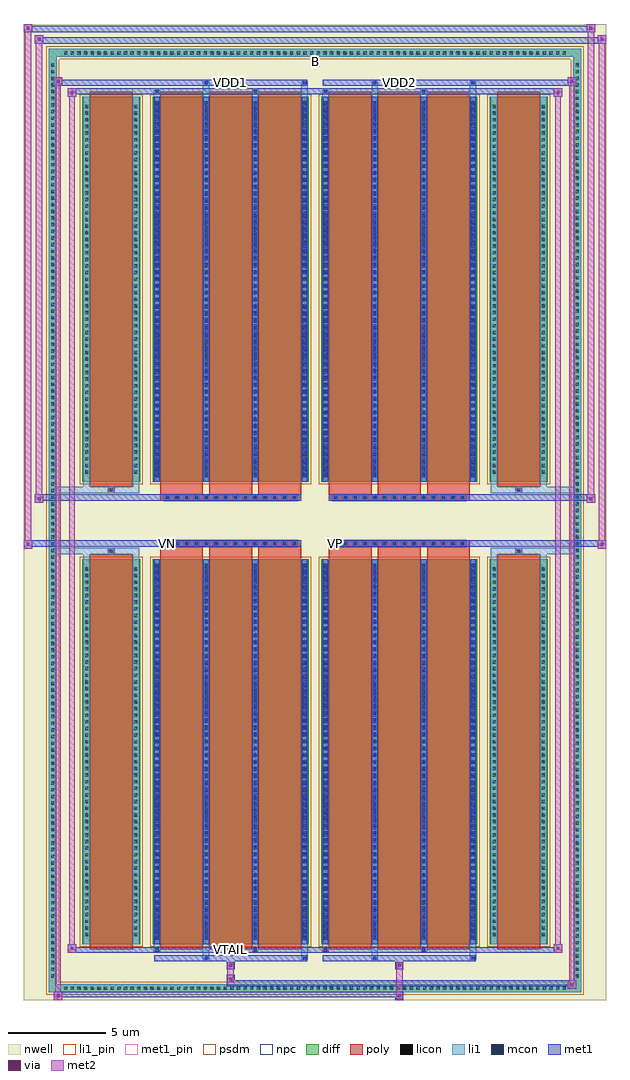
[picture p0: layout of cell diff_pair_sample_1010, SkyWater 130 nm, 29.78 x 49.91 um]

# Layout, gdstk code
import gdstk
lib = gdstk.Library(unit=1e-6, precision=5e-09)
def R(c, l, rs):  # rectangles x0, y0, x1, y1
    for r in rs: c.add(gdstk.rectangle(r[:2], r[2:], *l))
def A(c, l, x, y, w, h, nx, ny, dx, dy):  # array of equal rectangles
    R(c, l, [(x+i*dx, y+j*dy, x+i*dx+w, y+j*dy+h) for i in range(nx) for j in range(ny)])
def P(c, l, *ps):  # polygons
    for p in ps: c.add(gdstk.Polygon(p, *l))
nwell = (64, 20)
diff = (65, 20)
poly = (66, 20)
licon = (66, 44)
li1_pin = (67, 16)
li1 = (67, 20)
mcon = (67, 44)
met1_pin = (68, 16)
met1 = (68, 20)
via = (68, 44)
met2 = (69, 20)
psdm = (94, 20)
npc = (95, 20)

diff_pair_sample_1010 = lib.new_cell('diff_pair_sample_1010')
R(diff_pair_sample_1010, nwell, [(-14.89,-24.52,14.89,25.39), (-12.21,-22.71,-0.01,-0.805), (0.01,-22.71,12.21,-0.805), (-12.21,0.805,-0.01,22.71), (0.01,0.805,12.21,22.71)])
A(diff_pair_sample_1010, diff, -12.955, -24.12, 0.41, 0.41, 76, 2, 0.34, 47.83)
A(diff_pair_sample_1010, diff, -13.62, -23.495, 0.41, 0.41, 1, 138, 0, 0.34)
A(diff_pair_sample_1010, diff, 13.21, -23.495, 0.41, 0.41, 1, 138, 0, 0.34)
R(diff_pair_sample_1010, diff, [(-12.955,-24.12,12.955,-23.71), (-13.62,-23.495,-13.21,23.495), (13.21,-23.495,13.62,23.495), (-11.9,-21.665,-8.94,-1.985), (-8.3,-21.665,-0.32,-1.985), (0.32,-21.665,8.3,-1.985), (8.94,-21.665,11.9,-1.985), (-11.9,1.985,-8.94,21.665), (-8.3,1.985,-0.32,21.665), (0.32,1.985,8.3,21.665), (8.94,1.985,11.9,21.665), (-12.955,23.71,12.955,24.12)])
P(diff_pair_sample_1010, diff, [(13.62,24.12),(-13.62,24.12),(-13.62,-23.71),(-13.21,-23.71),(-13.21,23.71),(13.21,23.71),(13.21,-23.71),(-13.21,-23.71),(-13.62,-23.71),(-13.62,-24.12),(13.62,-24.12)])
A(diff_pair_sample_1010, poly, -7.91, -21.915, 2.18, 20.18, 3, 2, 2.51, 23.65)
A(diff_pair_sample_1010, poly, 0.71, -21.915, 2.18, 20.18, 3, 2, 2.51, 23.65)
A(diff_pair_sample_1010, poly, -7.91, -1.735, 2.18, 0.4, 3, 2, 2.51, 3.07)
A(diff_pair_sample_1010, poly, 0.71, -1.735, 2.18, 0.4, 3, 2, 2.51, 3.07)
A(diff_pair_sample_1010, poly, -7.725, -1.335, 0.33, 0.33, 14, 2, 0.5, 2.34)
A(diff_pair_sample_1010, poly, 0.895, -1.335, 0.33, 0.33, 14, 2, 0.5, 2.34)
R(diff_pair_sample_1010, poly, [(-11.51,-21.915,-9.33,-1.735), (9.33,-21.915,11.51,-1.735), (-10.585,-1.735,-10.255,-1.405), (-10.585,-1.735,-10.255,-1.405), (10.255,-1.735,10.585,-1.405), (10.255,-1.735,10.585,-1.405), (-7.91,-1.335,-0.71,-1.005), (0.71,-1.335,7.91,-1.005), (-7.91,1.005,-0.71,1.335), (0.71,1.005,7.91,1.335), (-10.585,1.405,-10.255,1.735), (-10.585,1.405,-10.255,1.735), (10.255,1.405,10.585,1.735), (10.255,1.405,10.585,1.735), (-11.51,1.735,-9.33,21.915), (9.33,1.735,11.51,21.915)])
A(diff_pair_sample_1010, licon, -12.835, -24, 0.17, 0.17, 76, 2, 0.34, 47.83)
A(diff_pair_sample_1010, licon, -13.5, -23.375, 0.17, 0.17, 1, 138, 0, 0.34)
A(diff_pair_sample_1010, licon, 13.33, -23.375, 0.17, 0.17, 1, 138, 0, 0.34)
A(diff_pair_sample_1010, licon, -11.76, -21.26, 0.17, 0.17, 1, 56, 0, 0.34)
A(diff_pair_sample_1010, licon, -9.25, -21.26, 0.17, 0.17, 1, 56, 0, 0.34)
A(diff_pair_sample_1010, licon, -8.16, -21.26, 0.17, 0.17, 4, 56, 2.51, 0.34)
A(diff_pair_sample_1010, licon, 0.46, -21.26, 0.17, 0.17, 4, 56, 2.51, 0.34)
A(diff_pair_sample_1010, licon, 9.08, -21.26, 0.17, 0.17, 1, 56, 0, 0.34)
A(diff_pair_sample_1010, licon, 11.59, -21.26, 0.17, 0.17, 1, 56, 0, 0.34)
A(diff_pair_sample_1010, licon, -7.645, -1.255, 0.17, 0.17, 14, 2, 0.5, 2.34)
A(diff_pair_sample_1010, licon, 0.975, -1.255, 0.17, 0.17, 14, 2, 0.5, 2.34)
A(diff_pair_sample_1010, licon, -11.76, 2.39, 0.17, 0.17, 1, 56, 0, 0.34)
A(diff_pair_sample_1010, licon, -9.25, 2.39, 0.17, 0.17, 1, 56, 0, 0.34)
A(diff_pair_sample_1010, licon, -8.16, 2.39, 0.17, 0.17, 4, 56, 2.51, 0.34)
A(diff_pair_sample_1010, licon, 0.46, 2.39, 0.17, 0.17, 4, 56, 2.51, 0.34)
A(diff_pair_sample_1010, licon, 9.08, 2.39, 0.17, 0.17, 1, 56, 0, 0.34)
A(diff_pair_sample_1010, licon, 11.59, 2.39, 0.17, 0.17, 1, 56, 0, 0.34)
R(diff_pair_sample_1010, licon, [(-10.505,-1.655,-10.335,-1.485), (10.335,-1.655,10.505,-1.485), (-10.505,1.485,-10.335,1.655), (10.335,1.485,10.505,1.655)])
R(diff_pair_sample_1010, li1_pin, [(-0.25,23.21,0.25,23.71)])
A(diff_pair_sample_1010, li1, -12.915, -24.08, 0.33, 0.33, 76, 2, 0.34, 47.83)
A(diff_pair_sample_1010, li1, -13.58, -23.455, 0.33, 0.33, 1, 138, 0, 0.34)
A(diff_pair_sample_1010, li1, 13.25, -23.455, 0.33, 0.33, 1, 138, 0, 0.34)
A(diff_pair_sample_1010, li1, -8.24, -21.665, 0.33, 19.68, 4, 2, 2.51, 23.65)
A(diff_pair_sample_1010, li1, 0.38, -21.665, 0.33, 19.68, 4, 2, 2.51, 23.65)
A(diff_pair_sample_1010, li1, -8.16, -21.45, 0.17, 0.17, 4, 54, 2.51, 0.36)
A(diff_pair_sample_1010, li1, -8.16, -21.45, 0.17, 19.25, 4, 2, 2.51, 23.65)
A(diff_pair_sample_1010, li1, 0.46, -21.45, 0.17, 0.17, 4, 54, 2.51, 0.36)
A(diff_pair_sample_1010, li1, 0.46, -21.45, 0.17, 19.25, 4, 2, 2.51, 23.65)
A(diff_pair_sample_1010, li1, -11.84, -21.34, 0.33, 0.33, 1, 56, 0, 0.34)
A(diff_pair_sample_1010, li1, -9.33, -21.34, 0.33, 0.33, 1, 56, 0, 0.34)
A(diff_pair_sample_1010, li1, -8.24, -21.34, 0.33, 0.33, 4, 56, 2.51, 0.34)
A(diff_pair_sample_1010, li1, 0.38, -21.34, 0.33, 0.33, 4, 56, 2.51, 0.34)
A(diff_pair_sample_1010, li1, 9, -21.34, 0.33, 0.33, 1, 56, 0, 0.34)
A(diff_pair_sample_1010, li1, 11.51, -21.34, 0.33, 0.33, 1, 56, 0, 0.34)
A(diff_pair_sample_1010, li1, -7.725, -1.335, 0.33, 0.33, 14, 2, 0.5, 2.34)
A(diff_pair_sample_1010, li1, 0.895, -1.335, 0.33, 0.33, 14, 2, 0.5, 2.34)
A(diff_pair_sample_1010, li1, -8.16, 2.2, 0.17, 0.17, 4, 54, 2.51, 0.36)
A(diff_pair_sample_1010, li1, 0.46, 2.2, 0.17, 0.17, 4, 54, 2.51, 0.36)
A(diff_pair_sample_1010, li1, -11.84, 2.31, 0.33, 0.33, 1, 56, 0, 0.34)
A(diff_pair_sample_1010, li1, -9.33, 2.31, 0.33, 0.33, 1, 56, 0, 0.34)
A(diff_pair_sample_1010, li1, -8.24, 2.31, 0.33, 0.33, 4, 56, 2.51, 0.34)
A(diff_pair_sample_1010, li1, 0.38, 2.31, 0.33, 0.33, 4, 56, 2.51, 0.34)
A(diff_pair_sample_1010, li1, 9, 2.31, 0.33, 0.33, 1, 56, 0, 0.34)
A(diff_pair_sample_1010, li1, 11.51, 2.31, 0.33, 0.33, 1, 56, 0, 0.34)
R(diff_pair_sample_1010, li1, [(-13.62,-24.12,-13.21,-23.71), (-13.62,-24.12,-13.21,-23.71), (-13.21,-24.12,13.21,-23.71), (13.21,-24.12,13.62,-23.71), (13.21,-24.12,13.62,-23.71), (-13.62,-23.71,-13.21,23.71), (13.21,-23.71,13.62,23.71), (-5.73,-22.47,-5.4,-21.665), (-5.65,-22.47,-5.48,-22.3), (-0.71,-22.47,-0.38,-21.665), (-0.63,-22.47,-0.46,-22.3), (2.89,-22.47,3.22,-21.665), (2.97,-22.47,3.14,-22.3), (7.91,-22.47,8.24,-21.665), (7.99,-22.47,8.16,-22.3), (-8.24,-22.04,-7.91,-21.665), (-8.16,-22.04,-7.99,-21.87), (-3.22,-22.04,-2.89,-21.665), (-3.14,-22.04,-2.97,-21.87), (0.38,-22.04,0.71,-21.665), (0.46,-22.04,0.63,-21.87), (5.4,-22.04,5.73,-21.665), (5.48,-22.04,5.65,-21.87), (-11.84,-21.665,-11.51,-1.985), (-9.33,-21.665,-9,-1.985), (9,-21.665,9.33,-1.985), (11.51,-21.665,11.84,-1.985), (-11.84,-1.985,-11.51,-1.405), (-9.33,-1.985,-9,-1.405), (9,-1.985,9.33,-1.405), (11.51,-1.985,11.84,-1.405), (-13.62,-1.735,-10.585,-1.405), (-11.84,-1.735,-10.585,-1.405), (-10.585,-1.735,-10.255,-1.405), (-10.255,-1.735,-9,-1.405), (9,-1.735,10.255,-1.405), (10.255,-1.735,10.585,-1.405), (10.255,-1.735,13.62,-1.405), (10.585,-1.735,11.84,-1.405), (-13.62,1.405,-10.585,1.735), (-11.84,1.405,-10.585,1.735), (-11.84,1.405,-11.51,1.985), (-10.585,1.405,-10.255,1.735), (-10.255,1.405,-9,1.735), (-9.33,1.405,-9,1.985), (9,1.405,10.255,1.735), (9,1.405,9.33,1.985), (10.255,1.405,10.585,1.735), (10.255,1.405,13.62,1.735), (10.585,1.405,11.84,1.735), (11.51,1.405,11.84,1.985), (-11.84,1.985,-11.51,21.665), (-9.33,1.985,-9,21.665), (9,1.985,9.33,21.665), (11.51,1.985,11.84,21.665), (-8.24,21.665,-7.91,22.04), (-5.73,21.665,-5.4,22.47), (-3.22,21.665,-2.89,22.04), (-0.71,21.665,-0.38,22.47), (0.38,21.665,0.71,22.04), (2.89,21.665,3.22,22.47), (5.4,21.665,5.73,22.04), (7.91,21.665,8.24,22.47), (-8.16,21.87,-7.99,22.04), (-3.14,21.87,-2.97,22.04), (0.46,21.87,0.63,22.04), (5.48,21.87,5.65,22.04), (-5.65,22.3,-5.48,22.47), (-0.63,22.3,-0.46,22.47), (2.97,22.3,3.14,22.47), (7.99,22.3,8.16,22.47), (-13.62,23.71,-13.21,24.12), (-13.62,23.71,-13.21,24.12), (-13.21,23.71,13.21,24.12), (13.21,23.71,13.62,24.12), (13.21,23.71,13.62,24.12)])
A(diff_pair_sample_1010, mcon, -8.16, -21.45, 0.17, 0.17, 4, 54, 2.51, 0.36)
A(diff_pair_sample_1010, mcon, 0.46, -21.45, 0.17, 0.17, 4, 54, 2.51, 0.36)
A(diff_pair_sample_1010, mcon, -7.645, -1.255, 0.17, 0.17, 14, 2, 0.5, 2.34)
A(diff_pair_sample_1010, mcon, 0.975, -1.255, 0.17, 0.17, 14, 2, 0.5, 2.34)
A(diff_pair_sample_1010, mcon, -8.16, 2.2, 0.17, 0.17, 4, 54, 2.51, 0.36)
A(diff_pair_sample_1010, mcon, 0.46, 2.2, 0.17, 0.17, 4, 54, 2.51, 0.36)
R(diff_pair_sample_1010, mcon, [(-5.65,-22.47,-5.48,-22.3), (-0.63,-22.47,-0.46,-22.3), (2.97,-22.47,3.14,-22.3), (7.99,-22.47,8.16,-22.3), (-8.16,-22.04,-7.99,-21.87), (-3.14,-22.04,-2.97,-21.87), (0.46,-22.04,0.63,-21.87), (5.48,-22.04,5.65,-21.87), (-8.16,21.87,-7.99,22.04), (-3.14,21.87,-2.97,22.04), (0.46,21.87,0.63,22.04), (5.48,21.87,5.65,22.04), (-5.65,22.3,-5.48,22.47), (-0.63,22.3,-0.46,22.47), (2.97,22.3,3.14,22.47), (7.99,22.3,8.16,22.47)])
R(diff_pair_sample_1010, met1_pin, [(-4.445,-22.08,-4.175,-21.81), (-7.695,-1.295,-7.425,-1.025), (0.925,-1.295,1.195,-1.025), (-4.445,22.26,-4.175,22.53), (4.175,22.26,4.445,22.53)])
A(diff_pair_sample_1010, met1, -8.22, -21.665, 0.29, 19.68, 4, 2, 2.51, 23.65)
A(diff_pair_sample_1010, met1, 0.4, -21.665, 0.29, 19.68, 4, 2, 2.51, 23.65)
A(diff_pair_sample_1010, met1, -8.22, -21.51, 0.29, 0.29, 4, 54, 2.51, 0.36)
A(diff_pair_sample_1010, met1, 0.4, -21.51, 0.29, 0.29, 4, 54, 2.51, 0.36)
A(diff_pair_sample_1010, met1, -7.705, -1.315, 0.29, 0.29, 14, 2, 0.5, 2.34)
A(diff_pair_sample_1010, met1, 0.915, -1.315, 0.29, 0.29, 14, 2, 0.5, 2.34)
A(diff_pair_sample_1010, met1, -8.22, 2.14, 0.29, 0.29, 4, 54, 2.51, 0.36)
A(diff_pair_sample_1010, met1, 0.4, 2.14, 0.29, 0.29, 4, 54, 2.51, 0.36)
R(diff_pair_sample_1010, met1, [(-13.35,-24.52,-12.92,-24.09), (4.095,-24.52,4.525,-24.09), (-13.35,-24.38,4.525,-24.09), (12.92,-23.95,13.35,-23.52), (-4.525,-23.81,13.35,-23.52), (-4.525,-23.67,-4.095,-23.24), (-4.525,-22.96,-4.095,-22.53), (4.095,-22.96,4.525,-22.53), (-8.22,-22.53,-0.4,-22.24), (-5.71,-22.53,-5.42,-22.24), (-0.69,-22.53,-0.4,-22.24), (0.4,-22.53,8.22,-22.24), (2.91,-22.53,3.2,-22.24), (7.93,-22.53,8.22,-22.24), (-12.64,-22.1,-12.21,-21.67), (-12.64,-22.1,-8.22,-21.81), (-8.22,-22.1,-7.93,-21.81), (-8.22,-22.1,-0.4,-21.81), (-3.2,-22.1,-2.91,-21.81), (-0.4,-22.1,0.4,-21.81), (0.4,-22.1,0.69,-21.81), (0.4,-22.1,8.22,-21.81), (5.42,-22.1,5.71,-21.81), (8.22,-22.1,12.64,-21.81), (12.21,-22.1,12.64,-21.67), (-14.89,-1.435,-14.46,-1.005), (14.46,-1.435,14.89,-1.005), (-14.89,-1.335,-0.71,-1.005), (-7.91,-1.335,-0.71,-1.005), (0.71,-1.335,7.91,-1.005), (0.71,-1.335,14.89,-1.005), (-14.32,0.905,-13.89,1.335), (13.89,0.905,14.32,1.335), (-14.32,1.005,-7.91,1.335), (-7.91,1.005,-0.71,1.335), (0.71,1.005,7.91,1.335), (7.91,1.005,14.32,1.335), (-12.64,21.67,-12.21,22.1), (12.21,21.67,12.64,22.1), (-12.64,21.81,-8.22,22.1), (-8.22,21.81,-7.93,22.1), (-8.22,21.81,-0.4,22.1), (-3.2,21.81,-2.91,22.1), (-0.4,21.81,0.4,22.1), (0.4,21.81,0.69,22.1), (0.4,21.81,8.22,22.1), (5.42,21.81,5.71,22.1), (8.22,21.81,12.64,22.1), (-13.35,22.24,-12.92,22.67), (-13.35,22.24,-8.22,22.53), (-8.22,22.24,-0.4,22.53), (-5.71,22.24,-5.42,22.53), (-0.69,22.24,-0.4,22.53), (0.4,22.24,8.22,22.53), (2.91,22.24,3.2,22.53), (7.93,22.24,8.22,22.53), (8.22,22.24,13.35,22.53), (12.92,22.24,13.35,22.67), (-14.32,24.39,-13.89,24.82), (-14.32,24.39,-12.21,24.72), (-12.21,24.39,12.21,24.72), (12.21,24.39,14.89,24.72), (14.46,24.39,14.89,24.82), (-14.89,24.96,-14.46,25.39), (-14.89,24.96,-12.21,25.29), (-12.21,24.96,12.21,25.29), (12.21,24.96,14.32,25.29), (13.89,24.96,14.32,25.39)])
R(diff_pair_sample_1010, via, [(-13.21,-24.38,-13.06,-24.23), (4.235,-24.38,4.385,-24.23), (13.06,-23.81,13.21,-23.66), (-4.385,-23.53,-4.235,-23.38), (-4.385,-22.82,-4.235,-22.67), (4.235,-22.82,4.385,-22.67), (-12.5,-21.96,-12.35,-21.81), (12.35,-21.96,12.5,-21.81), (-14.75,-1.295,-14.6,-1.145), (14.6,-1.295,14.75,-1.145), (-14.18,1.045,-14.03,1.195), (14.03,1.045,14.18,1.195), (-12.5,21.81,-12.35,21.96), (12.35,21.81,12.5,21.96), (-13.21,22.38,-13.06,22.53), (13.06,22.38,13.21,22.53), (-14.18,24.53,-14.03,24.68), (14.6,24.53,14.75,24.68), (-14.75,25.1,-14.6,25.25), (14.03,25.1,14.18,25.25)])
R(diff_pair_sample_1010, met2, [(-13.35,-24.52,-12.92,-24.09), (-13.28,-24.52,-12.99,22.67), (-12.99,-24.52,-12.92,-24.09), (-13.3,-24.47,-12.97,-24.14), (4.145,-24.47,4.475,-24.14), (4.145,-24.14,4.475,-22.91), (12.92,-23.95,13.35,-23.52), (12.99,-23.95,13.28,22.67), (13.28,-23.95,13.35,-23.52), (12.97,-23.9,13.3,-23.57), (-4.475,-23.62,-4.145,-23.29), (-4.475,-23.29,-4.145,-22.91), (-4.475,-22.91,-4.145,-22.58), (4.145,-22.91,4.475,-22.58), (-12.64,-22.1,-12.21,-21.67), (-12.57,-22.1,-12.28,22.1), (-12.28,-22.1,-12.21,-21.67), (12.21,-22.1,12.64,-21.67), (12.28,-22.1,12.57,22.1), (12.57,-22.1,12.64,-21.67), (-12.59,-22.05,-12.26,-21.72), (12.26,-22.05,12.59,-21.72), (-14.89,-1.435,-14.46,-1.005), (-14.84,-1.435,-14.51,25.39), (-14.51,-1.435,-14.46,-1.005), (14.46,-1.435,14.89,-1.005), (14.51,-1.435,14.84,24.82), (14.84,-1.435,14.89,-1.005), (-14.84,-1.385,-14.51,-1.055), (14.51,-1.385,14.84,-1.055), (-14.32,0.905,-13.89,1.335), (-14.27,0.905,-13.94,24.82), (-13.94,0.905,-13.89,1.335), (13.89,0.905,14.32,1.335), (13.94,0.905,14.27,25.39), (14.27,0.905,14.32,1.335), (-14.27,0.955,-13.94,1.285), (13.94,0.955,14.27,1.285), (-12.64,21.67,-12.21,22.1), (-12.28,21.67,-12.21,22.1), (12.21,21.67,12.64,22.1), (12.57,21.67,12.64,22.1), (-12.59,21.72,-12.26,22.05), (12.26,21.72,12.59,22.05), (-13.35,22.24,-12.92,22.67), (-12.99,22.24,-12.92,22.67), (12.92,22.24,13.35,22.67), (13.28,22.24,13.35,22.67), (-13.3,22.29,-12.97,22.62), (12.97,22.29,13.3,22.62), (-14.32,24.39,-13.89,24.82), (-13.94,24.39,-13.89,24.82), (14.46,24.39,14.89,24.82), (14.84,24.39,14.89,24.82), (-14.27,24.44,-13.94,24.77), (14.51,24.44,14.84,24.77), (-14.89,24.96,-14.46,25.39), (-14.51,24.96,-14.46,25.39), (13.89,24.96,14.32,25.39), (14.27,24.96,14.32,25.39), (-14.84,25.01,-14.51,25.34), (13.94,25.01,14.27,25.34)])
R(diff_pair_sample_1010, psdm, [(-12.03,-21.795,-8.81,-1.855), (-8.43,-21.795,-0.19,-1.855), (0.19,-21.795,8.43,-1.855), (8.81,-21.795,12.03,-1.855), (-12.03,1.855,-8.81,21.795), (-8.43,1.855,-0.19,21.795), (0.19,1.855,8.43,21.795), (8.81,1.855,12.03,21.795)])
P(diff_pair_sample_1010, psdm, [(13.75,24.25),(-13.75,24.25),(-13.75,-23.58),(-13.08,-23.58),(-13.08,23.58),(13.08,23.58),(13.08,-23.58),(-13.08,-23.58),(-13.75,-23.58),(-13.75,-24.25),(13.75,-24.25)])
A(diff_pair_sample_1010, npc, -7.745, -1.355, 0.37, 0.37, 14, 2, 0.5, 2.34)
A(diff_pair_sample_1010, npc, 0.875, -1.355, 0.37, 0.37, 14, 2, 0.5, 2.34)
R(diff_pair_sample_1010, npc, [(-10.605,-1.755,-10.235,-1.385), (10.235,-1.755,10.605,-1.385), (-7.745,-1.355,-6.875,-0.985), (-7.745,-1.355,-6.875,-0.985), (-7.245,-1.355,-6.375,-0.985), (-7.245,-1.355,-6.375,-0.985), (-6.745,-1.355,-5.875,-0.985), (-6.745,-1.355,-5.875,-0.985), (-6.245,-1.355,-5.375,-0.985), (-6.245,-1.355,-5.375,-0.985), (-5.745,-1.355,-4.875,-0.985), (-5.745,-1.355,-4.875,-0.985), (-5.245,-1.355,-4.375,-0.985), (-5.245,-1.355,-4.375,-0.985), (-4.745,-1.355,-3.875,-0.985), (-4.745,-1.355,-3.875,-0.985), (-4.245,-1.355,-3.375,-0.985), (-4.245,-1.355,-3.375,-0.985), (-3.745,-1.355,-2.875,-0.985), (-3.745,-1.355,-2.875,-0.985), (-3.245,-1.355,-2.375,-0.985), (-3.245,-1.355,-2.375,-0.985), (-2.745,-1.355,-1.875,-0.985), (-2.745,-1.355,-1.875,-0.985), (-2.245,-1.355,-1.375,-0.985), (-2.245,-1.355,-1.375,-0.985), (-1.745,-1.355,-0.875,-0.985), (-1.745,-1.355,-0.875,-0.985), (0.875,-1.355,1.745,-0.985), (0.875,-1.355,1.745,-0.985), (1.375,-1.355,2.245,-0.985), (1.375,-1.355,2.245,-0.985), (1.875,-1.355,2.745,-0.985), (1.875,-1.355,2.745,-0.985), (2.375,-1.355,3.245,-0.985), (2.375,-1.355,3.245,-0.985), (2.875,-1.355,3.745,-0.985), (2.875,-1.355,3.745,-0.985), (3.375,-1.355,4.245,-0.985), (3.375,-1.355,4.245,-0.985), (3.875,-1.355,4.745,-0.985), (3.875,-1.355,4.745,-0.985), (4.375,-1.355,5.245,-0.985), (4.375,-1.355,5.245,-0.985), (4.875,-1.355,5.745,-0.985), (4.875,-1.355,5.745,-0.985), (5.375,-1.355,6.245,-0.985), (5.375,-1.355,6.245,-0.985), (5.875,-1.355,6.745,-0.985), (5.875,-1.355,6.745,-0.985), (6.375,-1.355,7.245,-0.985), (6.375,-1.355,7.245,-0.985), (6.875,-1.355,7.745,-0.985), (6.875,-1.355,7.745,-0.985), (-7.745,0.985,-6.875,1.355), (-7.745,0.985,-6.875,1.355), (-7.245,0.985,-6.375,1.355), (-7.245,0.985,-6.375,1.355), (-6.745,0.985,-5.875,1.355), (-6.745,0.985,-5.875,1.355), (-6.245,0.985,-5.375,1.355), (-6.245,0.985,-5.375,1.355), (-5.745,0.985,-4.875,1.355), (-5.745,0.985,-4.875,1.355), (-5.245,0.985,-4.375,1.355), (-5.245,0.985,-4.375,1.355), (-4.745,0.985,-3.875,1.355), (-4.745,0.985,-3.875,1.355), (-4.245,0.985,-3.375,1.355), (-4.245,0.985,-3.375,1.355), (-3.745,0.985,-2.875,1.355), (-3.745,0.985,-2.875,1.355), (-3.245,0.985,-2.375,1.355), (-3.245,0.985,-2.375,1.355), (-2.745,0.985,-1.875,1.355), (-2.745,0.985,-1.875,1.355), (-2.245,0.985,-1.375,1.355), (-2.245,0.985,-1.375,1.355), (-1.745,0.985,-0.875,1.355), (-1.745,0.985,-0.875,1.355), (0.875,0.985,1.745,1.355), (0.875,0.985,1.745,1.355), (1.375,0.985,2.245,1.355), (1.375,0.985,2.245,1.355), (1.875,0.985,2.745,1.355), (1.875,0.985,2.745,1.355), (2.375,0.985,3.245,1.355), (2.375,0.985,3.245,1.355), (2.875,0.985,3.745,1.355), (2.875,0.985,3.745,1.355), (3.375,0.985,4.245,1.355), (3.375,0.985,4.245,1.355), (3.875,0.985,4.745,1.355), (3.875,0.985,4.745,1.355), (4.375,0.985,5.245,1.355), (4.375,0.985,5.245,1.355), (4.875,0.985,5.745,1.355), (4.875,0.985,5.745,1.355), (5.375,0.985,6.245,1.355), (5.375,0.985,6.245,1.355), (5.875,0.985,6.745,1.355), (5.875,0.985,6.745,1.355), (6.375,0.985,7.245,1.355), (6.375,0.985,7.245,1.355), (6.875,0.985,7.745,1.355), (6.875,0.985,7.745,1.355), (-10.605,1.385,-10.235,1.755), (10.235,1.385,10.605,1.755)])
diff_pair_sample_1010.add(gdstk.Label('VTAIL', (-4.31,-21.945), layer=68, texttype=5))
diff_pair_sample_1010.add(gdstk.Label('VN', (-7.56,-1.16), layer=68, texttype=5))
diff_pair_sample_1010.add(gdstk.Label('VP', (1.06,-1.16), layer=68, texttype=5))
diff_pair_sample_1010.add(gdstk.Label('B', (0,23.46), layer=67, texttype=5))
diff_pair_sample_1010.add(gdstk.Label('VDD2', (4.31,22.395), layer=68, texttype=5))
diff_pair_sample_1010.add(gdstk.Label('VDD1', (-4.31,22.395), layer=68, texttype=5))

lib.write_gds('diff_pair_sample_1010.gds')
